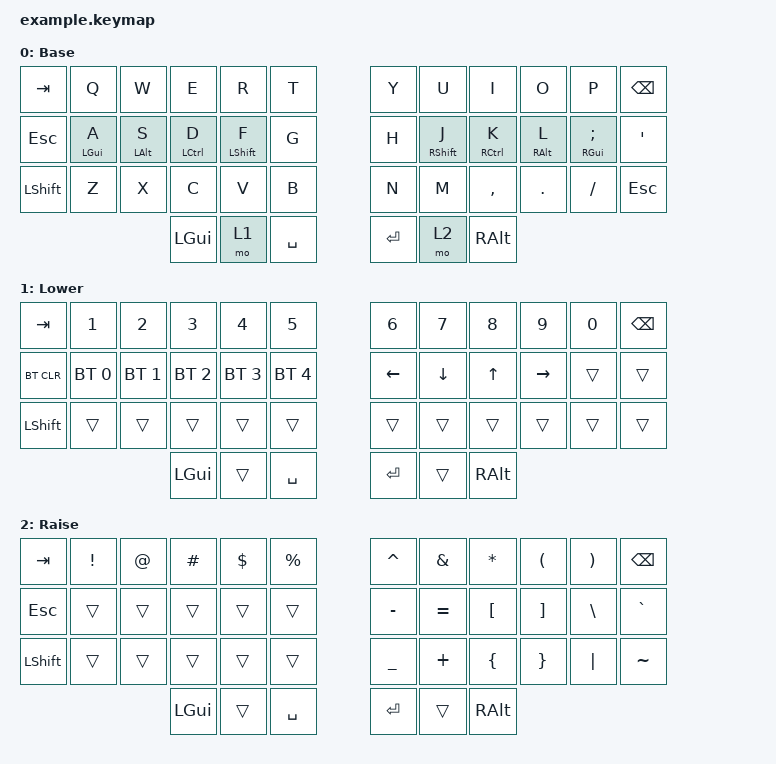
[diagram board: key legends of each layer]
#include <behaviors.dtsi>
#include <dt-bindings/zmk/bt.h>
#include <dt-bindings/zmk/keys.h>

/ {
    behaviors {
        hm: homerow_mods {
            compatible = "zmk,behavior-hold-tap";
            #binding-cells = <2>;
            tapping-term-ms = <150>;
            quick-tap-ms = <0>;
            flavor = "tap-preferred";
            bindings = <&kp>, <&kp>;
        };
    };

    keymap {
        compatible = "zmk,keymap";

        default_layer {
            display-name = "Base";
            bindings = <
   &kp TAB   &kp Q &kp W &kp E &kp R &kp T   &kp Y &kp U  &kp I     &kp O   &kp P    &kp BSPC
   &kp ESC   &hm LGUI A &hm LALT S &hm LCTRL D &hm LSHIFT F &kp G   &kp H &hm RSHIFT J &hm RCTRL K &hm RALT L &hm RGUI SEMI &kp SQT
   &kp LSHFT &kp Z &kp X &kp C &kp V &kp B   &kp N &kp M  &kp COMMA &kp DOT &kp FSLH &kp ESC
                  &kp LGUI &mo 1 &kp SPACE   &kp RET &mo 2 &kp RALT
            >;
        };

        lower_layer {
            display-name = "Lower";
            bindings = <
   &kp TAB    &kp N1       &kp N2       &kp N3       &kp N4       &kp N5         &kp N6   &kp N7   &kp N8 &kp N9    &kp N0 &kp BSPC
   &bt BT_CLR &bt BT_SEL 0 &bt BT_SEL 1 &bt BT_SEL 2 &bt BT_SEL 3 &bt BT_SEL 4   &kp LEFT &kp DOWN &kp UP &kp RIGHT &trans &trans
   &kp LSHFT  &trans       &trans       &trans       &trans       &trans         &trans   &trans   &trans &trans    &trans &trans
                          	        &kp LGUI     &trans       &kp SPACE      &kp RET  &trans   &kp RALT
            >;
        };

        raise_layer {
            display-name = "Raise";
            bindings = <
   &kp TAB  &kp EXCL &kp AT &kp HASH &kp DLLR &kp PRCNT   &kp CARET &kp AMPS  &kp ASTRK &kp LPAR &kp RPAR &kp BSPC
   &kp ESC  &trans   &trans &trans   &trans   &trans      &kp MINUS &kp EQUAL &kp LBKT  &kp RBKT &kp BSLH &kp GRAVE
   &kp LSHFT &trans   &trans &trans   &trans   &trans      &kp UNDER &kp PLUS  &kp LBRC  &kp RBRC &kp PIPE &kp TILDE
                    	     &kp LGUI &trans   &kp SPACE   &kp RET   &trans    &kp RALT
            >;
        };
    };
};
